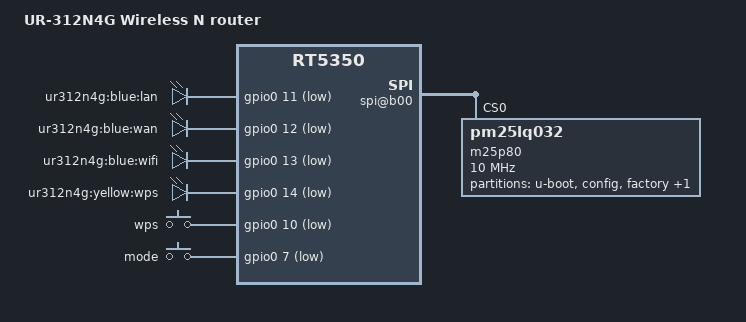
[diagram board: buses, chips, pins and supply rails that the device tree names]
/dts-v1/;

/include/ "rt5350.dtsi"

/ {
        compatible = "UR-312N4G", "ralink,rt5350-soc";

	model = "UR-312N4G Wireless N router";

        palmbus@10000000 {
                spi@b00 {
                        status = "okay";
                        m25p80@0 {
                                #address-cells = <1>;
                                #size-cells = <1>;
                                compatible = "pm25lq032";
                                reg = <0 0>;
                                linux,modalias = "m25p80", "pm25lq032";
                                spi-max-frequency = <10000000>;

                                partition@0 {
                                        label = "u-boot";
                                        reg = <0x0 0x30000>;
                                        read-only;
                                };

                                partition@30000 {
                                        label = "config";
                                        reg = <0x30000 0x10000>;
                                        read-only;
                                };

                                factory: partition@40000 {
                                        label = "factory";
                                        reg = <0x40000 0x10000>;
                                        read-only;
                                };

                                partition@50000 {
                                        label = "firmware";
                                        reg = <0x50000 0x3b0000>;
                                };
                        };
                };
        };

	ethernet@10100000 {
		mtd-mac-address = <&factory 0x28>;
	};

	pinctrl {
		state_default: pinctrl0 {
			gpio {
				ralink,group = "i2c", "jtag", "uartf";
				ralink,function = "gpio";
			};
		};
	};

	gpio-leds {
		compatible = "gpio-leds";
		lan {
			label = "ur312n4g:blue:lan";
			gpios = <&gpio0 11 1>;
		};
		wan {
			label = "ur312n4g:blue:wan";
			gpios = <&gpio0 12 1>;
		};
		wifi {
			label = "ur312n4g:blue:wifi";
			gpios = <&gpio0 13 1>;
		};
		wps {
			label = "ur312n4g:yellow:wps";
			gpios = <&gpio0 14 1>;
		};
	};

	gpio-keys-polled {
		compatible = "gpio-keys-polled";
		#address-cells = <1>;
		#size-cells = <0>;
		poll-interval = <20>;
		wps {
			label = "wps";
			gpios = <&gpio0 10 1>;
			linux,code = <0x198>;
		};
		mode {
			label = "mode";
			gpios = <&gpio0 7 1>;
			linux,code = <0x32>;
		};
	};

};
